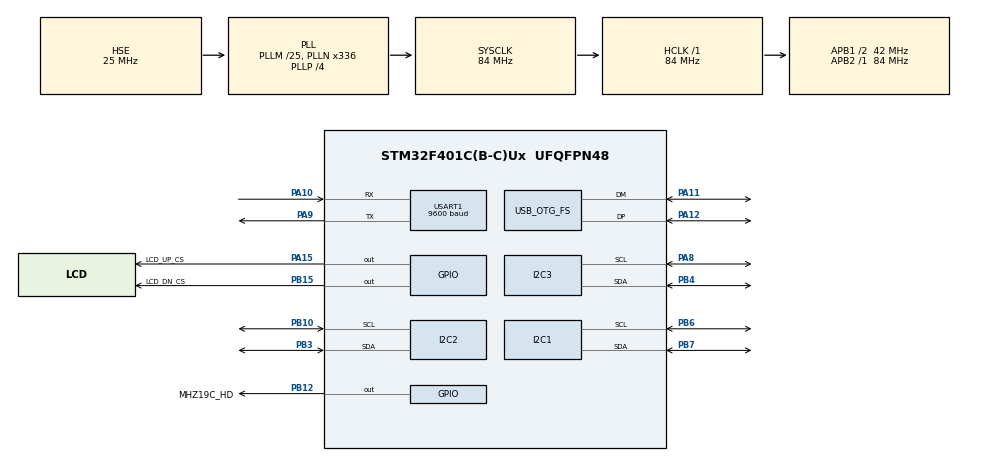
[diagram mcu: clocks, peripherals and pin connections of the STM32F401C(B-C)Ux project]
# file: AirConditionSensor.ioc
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Dma.I2C1_TX.0.Direction=DMA_MEMORY_TO_PERIPH
Dma.I2C1_TX.0.FIFOMode=DMA_FIFOMODE_DISABLE
Dma.I2C1_TX.0.Instance=DMA1_Stream6
Dma.I2C1_TX.0.MemDataAlignment=DMA_MDATAALIGN_BYTE
Dma.I2C1_TX.0.MemInc=DMA_MINC_ENABLE
Dma.I2C1_TX.0.Mode=DMA_NORMAL
Dma.I2C1_TX.0.PeriphDataAlignment=DMA_PDATAALIGN_BYTE
Dma.I2C1_TX.0.PeriphInc=DMA_PINC_DISABLE
Dma.I2C1_TX.0.Priority=DMA_PRIORITY_LOW
Dma.I2C2_TX.1.Direction=DMA_MEMORY_TO_PERIPH
Dma.I2C2_TX.1.FIFOMode=DMA_FIFOMODE_DISABLE
Dma.I2C2_TX.1.Instance=DMA1_Stream7
Dma.I2C2_TX.1.MemDataAlignment=DMA_MDATAALIGN_BYTE
Dma.I2C2_TX.1.MemInc=DMA_MINC_ENABLE
Dma.I2C2_TX.1.Mode=DMA_NORMAL
Dma.I2C2_TX.1.PeriphDataAlignment=DMA_PDATAALIGN_BYTE
Dma.I2C2_TX.1.PeriphInc=DMA_PINC_DISABLE
Dma.I2C2_TX.1.Priority=DMA_PRIORITY_LOW
Dma.Request0=I2C1_TX
Dma.Request1=I2C2_TX
I2C1.I2C_Mode=I2C_Fast
I2C2.I2C_Mode=I2C_Fast
I2C3.I2C_Mode=I2C_Fast
I2C3.NoStretchMode=I2C_NOSTRETCH_DISABLE
Mcu.Family=STM32F4
Mcu.Name=STM32F401C(B-C)Ux
Mcu.Package=UFQFPN48
NVIC.DMA1_Stream6_IRQn=true\:0\:0\:false\:false\:true\:false\:true\:true
NVIC.DMA1_Stream7_IRQn=true\:0\:0\:false\:false\:true\:false\:true\:true
NVIC.OTG_FS_IRQn=true\:0\:0\:false\:false\:true\:false\:true\:true
NVIC.PriorityGroup=NVIC_PRIORITYGROUP_4
NVIC.TIM1_UP_TIM10_IRQn=true\:0\:0\:false\:false\:true\:true\:true\:true
PA10.Mode=Asynchronous
PA10.Signal=USART1_RX
PA11.Mode=Device_Only
PA11.Signal=USB_OTG_FS_DM
PA12.Mode=Device_Only
PA12.Signal=USB_OTG_FS_DP
PA13.Mode=Serial_Wire
PA13.Signal=SYS_JTMS-SWDIO
PA14.Mode=Serial_Wire
PA14.Signal=SYS_JTCK-SWCLK
PA15.GPIO_Label=LCD_UP_CS
PA15.GPIO_ModeDefaultOutputPP=GPIO_MODE_OUTPUT_PP
PA15.GPIO_PuPd=GPIO_PULLDOWN
PA15.PinState=GPIO_PIN_RESET
PA15.Signal=GPIO_Output
PA8.GPIO_Pu=GPIO_PULLUP
PA8.GPIO_Speed=GPIO_SPEED_FREQ_HIGH
PA8.Mode=I2C
PA8.Signal=I2C3_SCL
PA9.Mode=Asynchronous
PA9.Signal=USART1_TX
PB10.GPIO_Pu=GPIO_PULLUP
PB10.GPIO_Speed=GPIO_SPEED_FREQ_HIGH
PB10.Mode=I2C
PB10.Signal=I2C2_SCL
PB12.GPIO_Label=MHZ19C_HD
PB12.GPIO_PuPd=GPIO_PULLUP
PB12.PinState=GPIO_PIN_SET
PB12.Signal=GPIO_Output
PB15.GPIO_Label=LCD_DN_CS
PB15.GPIO_PuPd=GPIO_PULLDOWN
PB15.Signal=GPIO_Output
PB3.GPIO_Pu=GPIO_PULLUP
PB3.GPIO_Speed=GPIO_SPEED_FREQ_HIGH
PB3.Mode=I2C
PB3.Signal=I2C2_SDA
PB4.GPIO_Pu=GPIO_PULLUP
PB4.GPIO_Speed=GPIO_SPEED_FREQ_HIGH
PB4.Mode=I2C
PB4.Signal=I2C3_SDA
PB6.GPIO_Pu=GPIO_PULLUP
PB6.GPIO_Speed=GPIO_SPEED_FREQ_HIGH
PB6.Mode=I2C
PB6.Signal=I2C1_SCL
PB7.GPIO_Pu=GPIO_PULLUP
PB7.GPIO_Speed=GPIO_SPEED_FREQ_HIGH
PB7.Mode=I2C
PB7.Signal=I2C1_SDA
PH0\ -\ OSC_IN.Mode=HSE-External-Oscillator
PH0\ -\ OSC_IN.Signal=RCC_OSC_IN
PH1\ -\ OSC_OUT.Mode=HSE-External-Oscillator
PH1\ -\ OSC_OUT.Signal=RCC_OSC_OUT
ProjectManager.HeapSize=0x200
ProjectManager.StackSize=0x400
ProjectManager.TargetToolchain=STM32CubeIDE
RCC.48MHZClocksFreq_Value=48000000
RCC.AHBFreq_Value=84000000
RCC.APB1CLKDivider=RCC_HCLK_DIV2
RCC.APB1Freq_Value=42000000
RCC.APB1TimFreq_Value=84000000
RCC.APB2Freq_Value=84000000
RCC.APB2TimFreq_Value=84000000
RCC.CortexFreq_Value=84000000
RCC.HCLKFreq_Value=84000000
RCC.HSE_VALUE=25000000
RCC.HSI_VALUE=16000000
RCC.LSE_VALUE=32768
RCC.PLLM=25
RCC.PLLN=336
RCC.PLLP=RCC_PLLP_DIV4
RCC.PLLQ=7
RCC.SYSCLKFreq_VALUE=84000000
RCC.SYSCLKSource=RCC_SYSCLKSOURCE_PLLCLK
RCC.VCOOutputFreq_Value=336000000
TIM1.Period=10000
TIM1.Prescaler=8400
USART1.BaudRate=9600
USART1.VirtualMode=VM_ASYNC
USB_DEVICE.CLASS_NAME_FS=CDC
USB_DEVICE.VirtualMode=Cdc
USB_DEVICE.VirtualModeFS=Cdc_FS
USB_OTG_FS.VirtualMode=Device_Only
VP_TIM1_VS_ClockSourceINT.Mode=Internal
VP_USB_DEVICE_VS_USB_DEVICE_CDC_FS.Mode=CDC_FS
board=custom

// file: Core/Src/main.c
/* USER CODE BEGIN Header */
/**
  ******************************************************************************
  * @file           : main.c
  * @brief          : Main program body
  ******************************************************************************
  * @attention
  *
  * Copyright (c) 2023 STMicroelectronics.
  * All rights reserved.
  *
  * This software is licensed under terms that can be found in the LICENSE file
  * in the root directory of this software component.
  * If no LICENSE file comes with this software, it is provided AS-IS.
  *
  ******************************************************************************
  */
/* USER CODE END Header */
#include "main.h"
#include "usb_device.h"

/* USER CODE BEGIN Includes */
#include "lmacEnvironmentalSensor.h"
#include "lmacDisp.h"
/* USER CODE END Includes */

I2C_HandleTypeDef hi2c1;
I2C_HandleTypeDef hi2c2;
I2C_HandleTypeDef hi2c3;
DMA_HandleTypeDef hdma_i2c1_tx;
DMA_HandleTypeDef hdma_i2c2_tx;

TIM_HandleTypeDef htim1;

UART_HandleTypeDef huart1;

/* USER CODE BEGIN PV */
static volatile uint8_t interrupt;
/* USER CODE END PV */

void SystemClock_Config(void);
static void MX_GPIO_Init(void);
static void MX_DMA_Init(void);
static void MX_I2C1_Init(void);
static void MX_I2C2_Init(void);
static void MX_I2C3_Init(void);
static void MX_TIM1_Init(void);
static void MX_USART1_UART_Init(void);

/* USER CODE BEGIN 0 */
void HAL_TIM_PeriodElapsedCallback(TIM_HandleTypeDef *htim)
{
	if (htim->Instance == TIM1) {
		interrupt = 1;
	}
}
/* USER CODE END 0 */

int main(void)
{

  /* MCU Configuration--------------------------------------------------------*/

  /* Reset of all peripherals, Initializes the Flash interface and the Systick. */
  HAL_Init();

  /* Configure the system clock */
  SystemClock_Config();

  /* USER CODE BEGIN SysInit */
  HAL_Delay(1);
  /* USER CODE END SysInit */

  /* Initialize all configured peripherals */
  MX_GPIO_Init();
  MX_DMA_Init();
  MX_I2C1_Init();
  MX_I2C2_Init();
  MX_I2C3_Init();
  MX_USB_DEVICE_Init();
  MX_TIM1_Init();
  MX_USART1_UART_Init();
  /* USER CODE BEGIN 2 */
  HAL_Delay(100);			// デバイスの立ち上がり待ち（時間適当）
  lmacEnvSens_Initialize();
  HAL_Delay(100);
  lmacDisp_Initialize();
  HAL_TIM_Base_Start_IT(&htim1);
  /* USER CODE END 2 */

  /* Infinite loop */
  /* USER CODE BEGIN WHILE */

  while (1)
  {
	// 1000ms interval
	while ((interrupt == 0));
	interrupt = 0;

	lmacEnvSens_MainLoop();
	lmacDisp_MainLoop();
    /* USER CODE END WHILE */

  }
}

void SystemClock_Config(void)
{
  RCC_OscInitTypeDef RCC_OscInitStruct = {0};
  RCC_ClkInitTypeDef RCC_ClkInitStruct = {0};

  /** Configure the main internal regulator output voltage
  */
  __HAL_RCC_PWR_CLK_ENABLE();
  __HAL_PWR_VOLTAGESCALING_CONFIG(PWR_REGULATOR_VOLTAGE_SCALE2);

  /** Initializes the RCC Oscillators according to the specified parameters
  * in the RCC_OscInitTypeDef structure.
  */
  RCC_OscInitStruct.OscillatorType = RCC_OSCILLATORTYPE_HSE;
  RCC_OscInitStruct.HSEState = RCC_HSE_ON;
  RCC_OscInitStruct.PLL.PLLState = RCC_PLL_ON;
  RCC_OscInitStruct.PLL.PLLSource = RCC_PLLSOURCE_HSE;
  RCC_OscInitStruct.PLL.PLLM = 25;
  RCC_OscInitStruct.PLL.PLLN = 336;
  RCC_OscInitStruct.PLL.PLLP = RCC_PLLP_DIV4;
  RCC_OscInitStruct.PLL.PLLQ = 7;
  if (HAL_RCC_OscConfig(&RCC_OscInitStruct) != HAL_OK)
  {
    Error_Handler();
  }

  /** Initializes the CPU, AHB and APB buses clocks
  */
  RCC_ClkInitStruct.ClockType = RCC_CLOCKTYPE_HCLK|RCC_CLOCKTYPE_SYSCLK
                              |RCC_CLOCKTYPE_PCLK1|RCC_CLOCKTYPE_PCLK2;
  RCC_ClkInitStruct.SYSCLKSource = RCC_SYSCLKSOURCE_PLLCLK;
  RCC_ClkInitStruct.AHBCLKDivider = RCC_SYSCLK_DIV1;
  RCC_ClkInitStruct.APB1CLKDivider = RCC_HCLK_DIV2;
  RCC_ClkInitStruct.APB2CLKDivider = RCC_HCLK_DIV1;

  if (HAL_RCC_ClockConfig(&RCC_ClkInitStruct, FLASH_LATENCY_2) != HAL_OK)
  {
    Error_Handler();
  }
}

static void MX_I2C1_Init(void)
{

  hi2c1.Instance = I2C1;
  hi2c1.Init.ClockSpeed = 400000;
  hi2c1.Init.DutyCycle = I2C_DUTYCYCLE_2;
  hi2c1.Init.OwnAddress1 = 0;
  hi2c1.Init.AddressingMode = I2C_ADDRESSINGMODE_7BIT;
  hi2c1.Init.DualAddressMode = I2C_DUALADDRESS_DISABLE;
  hi2c1.Init.OwnAddress2 = 0;
  hi2c1.Init.GeneralCallMode = I2C_GENERALCALL_DISABLE;
  hi2c1.Init.NoStretchMode = I2C_NOSTRETCH_DISABLE;
  if (HAL_I2C_Init(&hi2c1) != HAL_OK)
  {
    Error_Handler();
  }

}

static void MX_I2C2_Init(void)
{

  hi2c2.Instance = I2C2;
  hi2c2.Init.ClockSpeed = 400000;
  hi2c2.Init.DutyCycle = I2C_DUTYCYCLE_2;
  hi2c2.Init.OwnAddress1 = 0;
  hi2c2.Init.AddressingMode = I2C_ADDRESSINGMODE_7BIT;
  hi2c2.Init.DualAddressMode = I2C_DUALADDRESS_DISABLE;
  hi2c2.Init.OwnAddress2 = 0;
  hi2c2.Init.GeneralCallMode = I2C_GENERALCALL_DISABLE;
  hi2c2.Init.NoStretchMode = I2C_NOSTRETCH_DISABLE;
  if (HAL_I2C_Init(&hi2c2) != HAL_OK)
  {
    Error_Handler();
  }

}

static void MX_I2C3_Init(void)
{

  hi2c3.Instance = I2C3;
  hi2c3.Init.ClockSpeed = 400000;
  hi2c3.Init.DutyCycle = I2C_DUTYCYCLE_2;
  hi2c3.Init.OwnAddress1 = 0;
  hi2c3.Init.AddressingMode = I2C_ADDRESSINGMODE_7BIT;
  hi2c3.Init.DualAddressMode = I2C_DUALADDRESS_DISABLE;
  hi2c3.Init.OwnAddress2 = 0;
  hi2c3.Init.GeneralCallMode = I2C_GENERALCALL_DISABLE;
  hi2c3.Init.NoStretchMode = I2C_NOSTRETCH_DISABLE;
  if (HAL_I2C_Init(&hi2c3) != HAL_OK)
  {
    Error_Handler();
  }

}

static void MX_TIM1_Init(void)
{

  TIM_ClockConfigTypeDef sClockSourceConfig = {0};
  TIM_MasterConfigTypeDef sMasterConfig = {0};

  htim1.Instance = TIM1;
  htim1.Init.Prescaler = 8400;
  htim1.Init.CounterMode = TIM_COUNTERMODE_UP;
  htim1.Init.Period = 10000;
  htim1.Init.ClockDivision = TIM_CLOCKDIVISION_DIV1;
  htim1.Init.RepetitionCounter = 0;
  htim1.Init.AutoReloadPreload = TIM_AUTORELOAD_PRELOAD_DISABLE;
  if (HAL_TIM_Base_Init(&htim1) != HAL_OK)
  {
    Error_Handler();
  }
  sClockSourceConfig.ClockSource = TIM_CLOCKSOURCE_INTERNAL;
  if (HAL_TIM_ConfigClockSource(&htim1, &sClockSourceConfig) != HAL_OK)
  {
    Error_Handler();
  }
  sMasterConfig.MasterOutputTrigger = TIM_TRGO_RESET;
  sMasterConfig.MasterSlaveMode = TIM_MASTERSLAVEMODE_DISABLE;
  if (HAL_TIMEx_MasterConfigSynchronization(&htim1, &sMasterConfig) != HAL_OK)
  {
    Error_Handler();
  }

}

static void MX_USART1_UART_Init(void)
{

  huart1.Instance = USART1;
  huart1.Init.BaudRate = 9600;
  huart1.Init.WordLength = UART_WORDLENGTH_8B;
  huart1.Init.StopBits = UART_STOPBITS_1;
  huart1.Init.Parity = UART_PARITY_NONE;
  huart1.Init.Mode = UART_MODE_TX_RX;
  huart1.Init.HwFlowCtl = UART_HWCONTROL_NONE;
  huart1.Init.OverSampling = UART_OVERSAMPLING_16;
  if (HAL_UART_Init(&huart1) != HAL_OK)
  {
    Error_Handler();
  }

}

static void MX_DMA_Init(void)
{

  /* DMA controller clock enable */
  __HAL_RCC_DMA1_CLK_ENABLE();

  /* DMA interrupt init */
  /* DMA1_Stream6_IRQn interrupt configuration */
  HAL_NVIC_SetPriority(DMA1_Stream6_IRQn, 0, 0);
  HAL_NVIC_EnableIRQ(DMA1_Stream6_IRQn);
  /* DMA1_Stream7_IRQn interrupt configuration */
  HAL_NVIC_SetPriority(DMA1_Stream7_IRQn, 0, 0);
  HAL_NVIC_EnableIRQ(DMA1_Stream7_IRQn);

}

static void MX_GPIO_Init(void)
{
  GPIO_InitTypeDef GPIO_InitStruct = {0};

  /* GPIO Ports Clock Enable */
  __HAL_RCC_GPIOH_CLK_ENABLE();
  __HAL_RCC_GPIOB_CLK_ENABLE();
  __HAL_RCC_GPIOA_CLK_ENABLE();

  /*Configure GPIO pin Output Level */
  HAL_GPIO_WritePin(MHZ19C_HD_GPIO_Port, MHZ19C_HD_Pin, GPIO_PIN_SET);

  /*Configure GPIO pin Output Level */
  HAL_GPIO_WritePin(LCD_DN_CS_GPIO_Port, LCD_DN_CS_Pin, GPIO_PIN_RESET);

  /*Configure GPIO pin Output Level */
  HAL_GPIO_WritePin(LCD_UP_CS_GPIO_Port, LCD_UP_CS_Pin, GPIO_PIN_RESET);

  /*Configure GPIO pin : MHZ19C_HD_Pin */
  GPIO_InitStruct.Pin = MHZ19C_HD_Pin;
  GPIO_InitStruct.Mode = GPIO_MODE_OUTPUT_PP;
  GPIO_InitStruct.Pull = GPIO_PULLUP;
  GPIO_InitStruct.Speed = GPIO_SPEED_FREQ_LOW;
  HAL_GPIO_Init(MHZ19C_HD_GPIO_Port, &GPIO_InitStruct);

  /*Configure GPIO pin : LCD_DN_CS_Pin */
  GPIO_InitStruct.Pin = LCD_DN_CS_Pin;
  GPIO_InitStruct.Mode = GPIO_MODE_OUTPUT_PP;
  GPIO_InitStruct.Pull = GPIO_PULLDOWN;
  GPIO_InitStruct.Speed = GPIO_SPEED_FREQ_LOW;
  HAL_GPIO_Init(LCD_DN_CS_GPIO_Port, &GPIO_InitStruct);

  /*Configure GPIO pin : LCD_UP_CS_Pin */
  GPIO_InitStruct.Pin = LCD_UP_CS_Pin;
  GPIO_InitStruct.Mode = GPIO_MODE_OUTPUT_PP;
  GPIO_InitStruct.Pull = GPIO_PULLDOWN;
  GPIO_InitStruct.Speed = GPIO_SPEED_FREQ_LOW;
  HAL_GPIO_Init(LCD_UP_CS_GPIO_Port, &GPIO_InitStruct);

}

void Error_Handler(void)
{
  __disable_irq();
  while (1)
  {
  }
}
